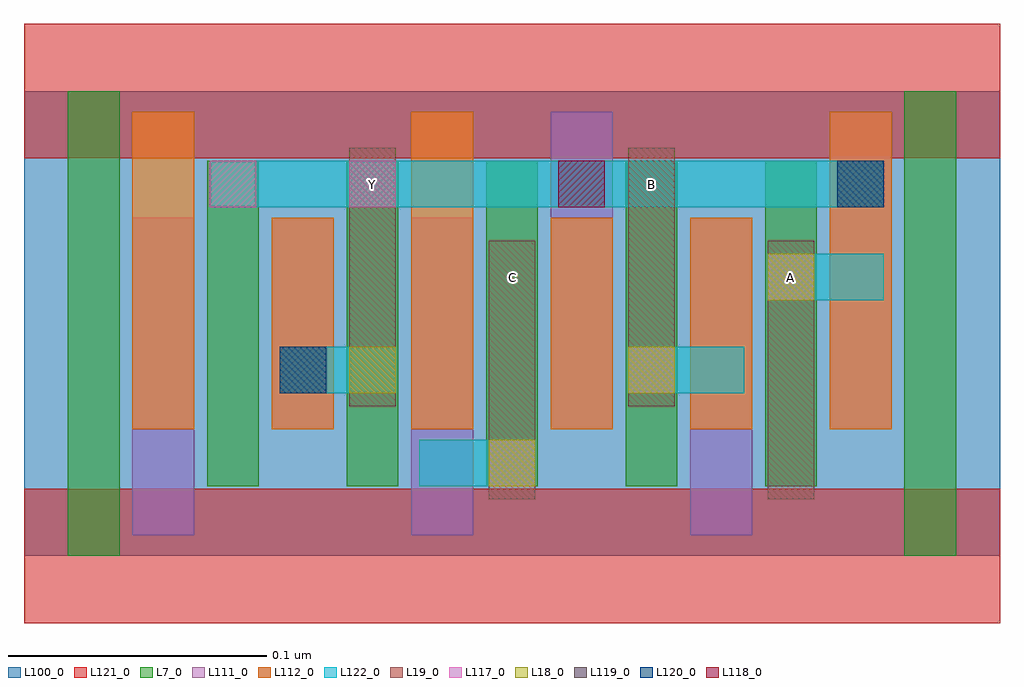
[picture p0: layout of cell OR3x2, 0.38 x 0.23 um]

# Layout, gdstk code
import gdstk
lib = gdstk.Library(unit=1e-6, precision=2.5e-10)
def R(c, l, rs):  # rectangles x0, y0, x1, y1
    for r in rs: c.add(gdstk.rectangle(r[:2], r[2:], *l))
def A(c, l, x, y, w, h, nx, ny, dx, dy):  # array of equal rectangles
    R(c, l, [(x+i*dx, y+j*dy, x+i*dx+w, y+j*dy+h) for i in range(nx) for j in range(ny)])
L7_0 = (7, 0)
L18_0 = (18, 0)
L19_0 = (19, 0)
L100_0 = (100, 0)
L111_0 = (111, 0)
L112_0 = (112, 0)
L117_0 = (117, 0)
L118_0 = (118, 0)
L119_0 = (119, 0)
L120_0 = (120, 0)
L121_0 = (121, 0)
L122_0 = (122, 0)

or3x2 = lib.new_cell('OR3x2')
A(or3x2, L7_0, 0.071, 0.027, 0.02, 0.126, 5, 1, 0.054, 0)
R(or3x2, L7_0, [(0.017,0,0.037,0.18), (0.341,0,0.361,0.18)])
R(or3x2, L18_0, [(0.18,0.027,0.198,0.045), (0.126,0.063,0.144,0.081), (0.234,0.063,0.252,0.081), (0.288,0.099,0.306,0.117)])
R(or3x2, L19_0, [(0.18,0.022,0.198,0.122), (0.288,0.022,0.306,0.122), (0.126,0.058,0.144,0.158), (0.234,0.058,0.252,0.158)])
R(or3x2, L100_0, [(0,0,0.378,0.18)])
A(or3x2, L111_0, 0.042, 0.008, 0.024, 0.123, 3, 1, 0.108, 0)
R(or3x2, L111_0, [(0.096,0.049,0.12,0.131), (0.204,0.049,0.228,0.172), (0.312,0.049,0.336,0.172)])
R(or3x2, L112_0, [(0.042,0.049,0.066,0.172), (0.096,0.049,0.12,0.131), (0.15,0.049,0.174,0.172), (0.204,0.049,0.228,0.131), (0.258,0.049,0.282,0.131), (0.312,0.049,0.336,0.172)])
R(or3x2, L117_0, [(0.18,0.027,0.198,0.045), (0.234,0.063,0.252,0.081), (0.288,0.099,0.306,0.117), (0.072,0.135,0.09,0.153), (0.126,0.135,0.144,0.153)])
R(or3x2, L118_0, [(0.207,0.135,0.225,0.153)])
R(or3x2, L119_0, [(0.099,0.063,0.117,0.081), (0.315,0.135,0.333,0.153)])
R(or3x2, L120_0, [(0.099,0.063,0.117,0.081), (0.315,0.135,0.333,0.153)])
R(or3x2, L121_0, [(0,-0.026,0.378,0.026), (0,0.154,0.378,0.206)])
R(or3x2, L122_0, [(0.153,0.027,0.198,0.045), (0.099,0.063,0.144,0.081), (0.234,0.063,0.279,0.081), (0.288,0.099,0.333,0.117), (0.072,0.135,0.333,0.153)])
or3x2.add(gdstk.Label('Y', (0.135,0.144), layer=19, texttype=251))
or3x2.add(gdstk.Label('C', (0.189,0.108), layer=19, texttype=251))
or3x2.add(gdstk.Label('B', (0.243,0.144), layer=19, texttype=251))
or3x2.add(gdstk.Label('A', (0.297,0.108), layer=19, texttype=251))

lib.write_gds('OR3x2.gds')
